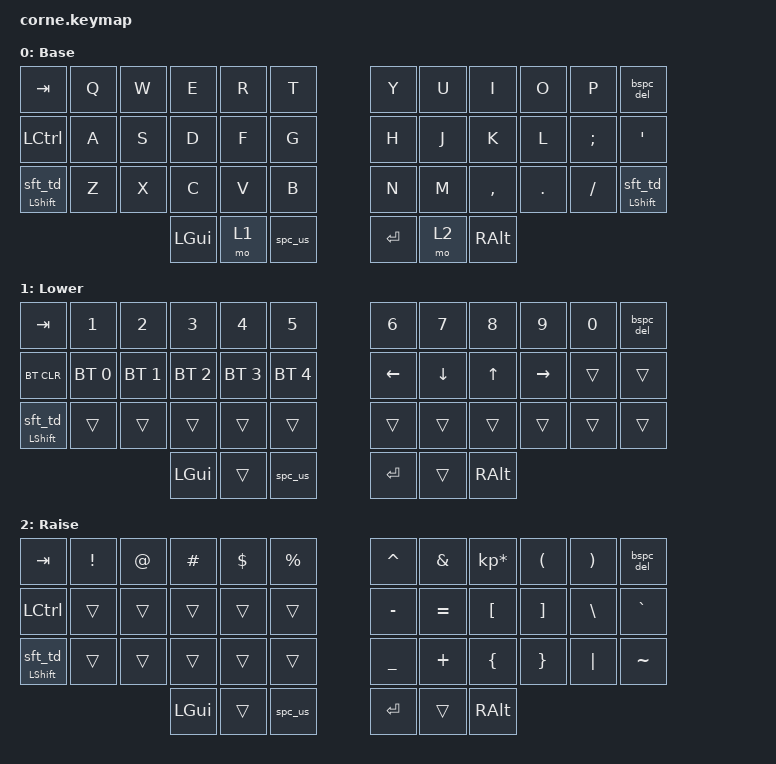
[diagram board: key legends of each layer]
/*
 * Copyright (c) 2020 The ZMK Contributors
 *
 * SPDX-License-Identifier: MIT
 */

#include <behaviors.dtsi>
#include <dt-bindings/zmk/keys.h>
#include <dt-bindings/zmk/bt.h>
#include <dt-bindings/zmk/modifiers.h>

/ {
        behaviors {
                skq: sticky_key_quick {
                        compatible = "zmk,behavior-sticky-key";
                        #binding-cells = <1>;
                        bindings = <&kp>;
                        release-after-ms = <1000>;
                        quick-release;
                };

                sft_td: smart_shift_tap_dance {
                        compatible = "zmk,behavior-tap-dance";
                        #binding-cells = <0>;
                        tapping-term-ms = <350>;
                        bindings = <&skq LSHFT>, <&caps_word>;
                };

                sft_smart: smart_shift {
                        compatible = "zmk,behavior-hold-tap";
                        #binding-cells = <2>;
                        flavor = "hold-preferred";
                        tapping-term-ms = <350>;
                        bindings = <&kp>, <&sft_td>;
                };

                spc_us: space_underscore {
                        compatible = "zmk,behavior-mod-morph";
                        #binding-cells = <0>;
                        bindings = <&kp SPACE>, <&kp UNDER>;
                        mods = <(MOD_LSFT|MOD_RSFT)>;
                };

                bspc_del: backspace_delete {
                        compatible = "zmk,behavior-mod-morph";
                        #binding-cells = <0>;
                        bindings = <&kp BSPC>, <&kp DEL>;
                        mods = <(MOD_LSFT|MOD_RSFT)>;
                };
        };

        combos {
                compatible = "zmk,combos";

                combo_esc {
                        timeout-ms = <50>;
                        key-positions = <1 2>;
                        layers = <0>;
                        bindings = <&kp ESC>;
                };
        };

        keymap {
                compatible = "zmk,keymap";

                default_layer {
// -----------------------------------------------------------------------------------------
// |  TAB |  Q  |  W  |  E  |  R  |  T  |   |  Y  |  U   |  I  |  O  |  P  | BKSP |
// | CTRL |  A  |  S  |  D  |  F  |  G  |   |  H  |  J   |  K  |  L  |  ;  |  '   |
// | SHFT |  Z  |  X  |  C  |  V  |  B  |   |  N  |  M   |  ,  |  .  |  /  | SHFT |
//                    | GUI | LWR | SPC |   | ENT | RSE  | ALT |
                        display-name = "Base";
                        bindings = <
   &kp TAB   &kp Q &kp W &kp E &kp R &kp T   &kp Y &kp U  &kp I     &kp O   &kp P    &bspc_del
   &kp LCTRL &kp A &kp S &kp D &kp F &kp G   &kp H &kp J  &kp K     &kp L   &kp SEMI &kp SQT
   &sft_smart LSHFT 0 &kp Z &kp X &kp C &kp V &kp B   &kp N &kp M  &kp COMMA &kp DOT &kp FSLH &sft_smart LSHFT 0
                  &kp LGUI &mo 1 &spc_us     &kp RET &mo 2 &kp RALT
                        >;
                };
                lower_layer {
// -----------------------------------------------------------------------------------------
// |  TAB |  1  |  2  |  3  |  4  |  5  |   |  6  |  7  |  8  |  9  |  0  | BKSP |
// | BTCLR| BT1 | BT2 | BT3 | BT4 | BT5 |   | LFT | DWN |  UP | RGT |     |      |
// | SHFT |     |     |     |     |     |   |     |     |     |     |     |      |
//                    | GUI |     | SPC |   | ENT |     | ALT |
                        display-name = "Lower";
                        bindings = <
   &kp TAB    &kp N1       &kp N2       &kp N3       &kp N4       &kp N5         &kp N6   &kp N7   &kp N8 &kp N9    &kp N0 &bspc_del
   &bt BT_CLR &bt BT_SEL 0 &bt BT_SEL 1 &bt BT_SEL 2 &bt BT_SEL 3 &bt BT_SEL 4   &kp LEFT &kp DOWN &kp UP &kp RIGHT &trans &trans
   &sft_smart LSHFT 0 &trans       &trans       &trans       &trans       &trans         &trans   &trans   &trans &trans    &trans &trans
                          	        &kp LGUI     &trans       &spc_us        &kp RET  &trans   &kp RALT
                        >;
                };

                raise_layer {
// -----------------------------------------------------------------------------------------
// |  TAB |  !  |  @  |  #  |  $  |  %  |   |  ^  |  &  |  *  |  (  |  )  | BKSP |
// | CTRL |     |     |     |     |     |   |  -  |  =  |  [  |  ]  |  \  |  `   |
// | SHFT |     |     |     |     |     |   |  _  |  +  |  {  |  }  | "|" |  ~   |
//                    | GUI |     | SPC |   | ENT |     | ALT |
                        display-name = "Raise";
                        bindings = <
   &kp  TAB  &kp EXCL &kp AT &kp HASH &kp DLLR &kp PRCNT   &kp CARET &kp AMPS  &kp KP_MULTIPLY &kp LPAR &kp RPAR &bspc_del
   &kp LCTRL &trans   &trans &trans   &trans   &trans      &kp MINUS &kp EQUAL &kp LBKT        &kp RBKT &kp BSLH &kp GRAVE
   &sft_smart LSHFT 0 &trans   &trans &trans   &trans   &trans      &kp UNDER &kp PLUS  &kp LBRC        &kp RBRC &kp PIPE &kp TILDE
                    	     &kp LGUI &trans   &spc_us     &kp RET   &trans    &kp RALT
                        >;
                };

                extra_1 {
                        status = "reserved";
                };

                extra_2 {
                        status = "reserved";
                };

                extra_3 {
                        status = "reserved";
                };
        };
};
